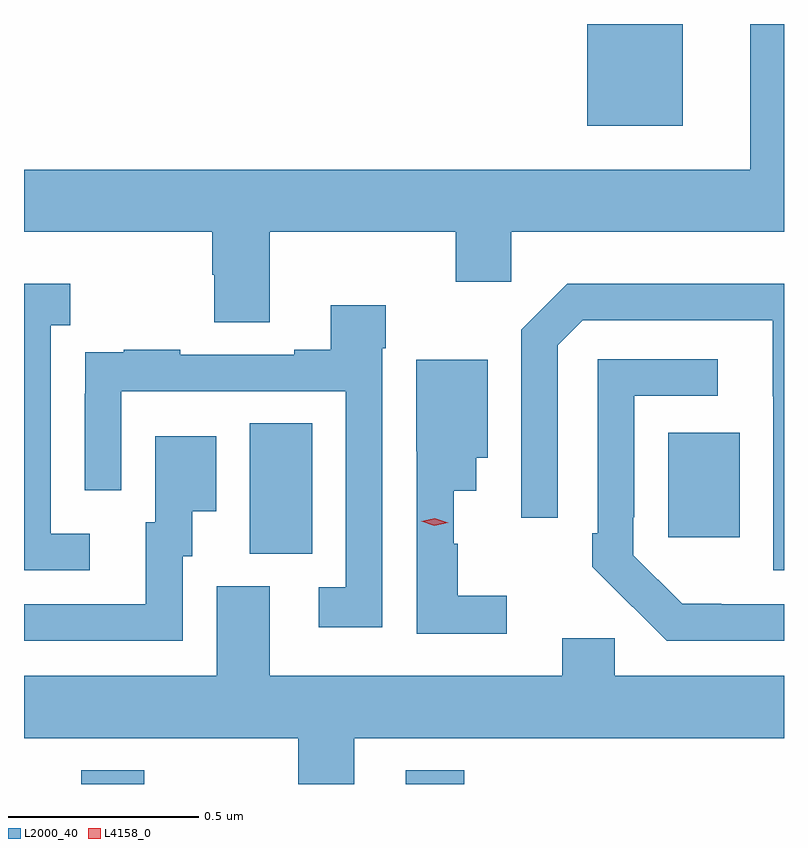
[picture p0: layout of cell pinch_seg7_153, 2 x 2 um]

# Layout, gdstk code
import gdstk
lib = gdstk.Library(unit=1e-6, precision=1e-09)
def R(c, l, rs):  # rectangles x0, y0, x1, y1
    for r in rs: c.add(gdstk.rectangle(r[:2], r[2:], *l))
def P(c, l, *ps):  # polygons
    for p in ps: c.add(gdstk.Polygon(p, *l))
L2000_40 = (2000, 40)
L4158_0 = (4158, 0)

pinch_seg7_153 = lib.new_cell('pinch_seg7_153')
R(pinch_seg7_153, L2000_40, [(1034.27,1011.151,1034.437,1011.187), (1035.125,1011.151,1035.278,1011.187), (1034.714,1011.757,1034.878,1012.1), (1035.815,1011.801,1036.003,1012.075), (1035.602,1012.883,1035.853,1013.151)])
P(pinch_seg7_153, L2000_40, [(1034.767,1012.604),(1035.256,1012.604),(1035.256,1012.473),(1035.402,1012.473),(1035.402,1012.604),(1036.12,1012.604),(1036.12,1013.151),(1036.031,1013.151),(1036.031,1012.768),(1034.12,1012.768),(1034.12,1012.604),(1034.615,1012.604),(1034.615,1012.491),(1034.62,1012.491),(1034.62,1012.366),(1034.767,1012.366)],
  [(1036.12,1012.468),(1035.55,1012.468),(1035.429,1012.347),(1035.429,1011.852),(1035.525,1011.852),(1035.525,1012.305),(1035.591,1012.371),(1036.091,1012.371),(1036.091,1012.171),(1036.092,1012.171),(1036.092,1011.714),(1036.12,1011.714)],
  [(1034.293,1011.81),(1034.19,1011.81),(1034.19,1012.358),(1034.242,1012.358),(1034.242,1012.468),(1034.12,1012.468),(1034.12,1011.714),(1034.293,1011.714)],
  [(1035.063,1012.298),(1035.072,1012.298),(1035.072,1012.411),(1034.927,1012.411),(1034.927,1012.294),(1034.831,1012.294),(1034.831,1012.281),(1034.531,1012.281),(1034.531,1012.294),(1034.383,1012.294),(1034.383,1012.287),(1034.281,1012.287),(1034.281,1012.178),(1034.28,1012.178),(1034.28,1011.924),(1034.376,1011.924),(1034.376,1012.185),(1034.967,1012.185),(1034.967,1011.669),(1034.895,1011.669),(1034.895,1011.564),(1035.063,1011.564)],
  [(1036.12,1011.624),(1035.955,1011.624),(1035.955,1011.625),(1035.852,1011.625),(1035.723,1011.753),(1035.723,1011.853),(1035.726,1011.853),(1035.726,1012.173),(1035.946,1012.173),(1035.946,1012.269),(1035.63,1012.269),(1035.63,1011.811),(1035.615,1011.811),(1035.615,1011.723),(1035.72,1011.618),(1035.721,1011.619),(1035.812,1011.528),(1036.12,1011.528)],
  [(1035.391,1011.647),(1035.262,1011.647),(1035.262,1011.783),(1035.251,1011.783),(1035.251,1011.923),(1035.31,1011.923),(1035.31,1012.01),(1035.34,1012.01),(1035.34,1012.267),(1035.152,1012.267),(1035.152,1012.027),(1035.153,1012.027),(1035.153,1011.546),(1035.391,1011.546)],
  [(1034.538,1011.75),(1034.563,1011.75),(1034.563,1011.869),(1034.626,1011.869),(1034.626,1012.066),(1034.465,1012.066),(1034.465,1011.84),(1034.441,1011.84),(1034.441,1011.624),(1034.12,1011.624),(1034.12,1011.528),(1034.538,1011.528)],
  [(1034.989,1011.272),(1036.12,1011.272),(1036.12,1011.436),(1035.675,1011.436),(1035.675,1011.534),(1035.536,1011.534),(1035.536,1011.436),(1034.767,1011.436),(1034.767,1011.672),(1034.627,1011.672),(1034.627,1011.436),(1034.12,1011.436),(1034.12,1011.272),(1034.842,1011.272),(1034.842,1011.151),(1034.989,1011.151)])
P(pinch_seg7_153, L4158_0, [(1035.2,1011.83),(1035.165,1011.842),(1035.165,1011.842),(1035.165,1011.842),(1035.201,1011.85),(1035.236,1011.839),(1035.236,1011.839),(1035.236,1011.839)])

lib.write_gds('pinch_seg7_153.gds')
